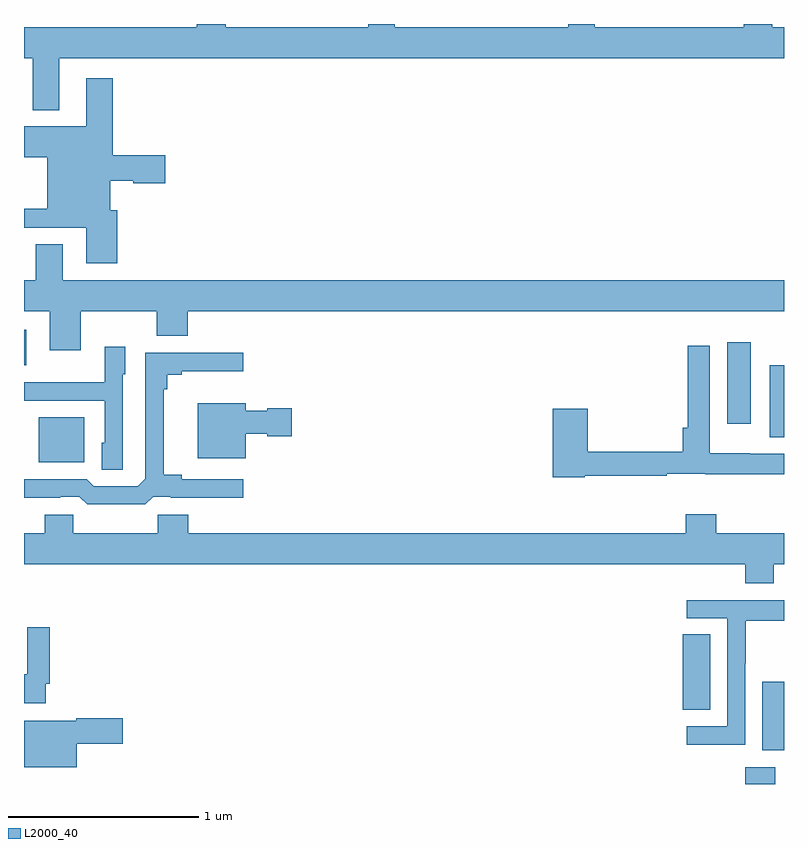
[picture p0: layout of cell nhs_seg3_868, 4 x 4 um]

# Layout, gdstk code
import gdstk
lib = gdstk.Library(unit=1e-6, precision=1e-09)
def R(c, l, rs):  # rectangles x0, y0, x1, y1
    for r in rs: c.add(gdstk.rectangle(r[:2], r[2:], *l))
def P(c, l, *ps):  # polygons
    for p in ps: c.add(gdstk.Polygon(p, *l))
L2000_40 = (2000, 40)

nhs_seg3_868 = lib.new_cell('nhs_seg3_868')
R(nhs_seg3_868, L2000_40, [(158.795,726.4,158.955,726.487), (158.885,726.578,159,726.939), (158.468,726.79,158.611,727.187), (155.078,728.093,155.317,728.329), (158.924,728.224,159,728.605), (158.702,728.295,158.824,728.725), (155,728.604,155.011,728.791)])
P(nhs_seg3_868, L2000_40, [(155.185,730.22),(159,730.22),(159,730.384),(158.937,730.384),(158.937,730.4),(158.789,730.4),(158.789,730.384),(158.005,730.384),(158.005,730.4),(157.865,730.4),(157.865,730.384),(156.951,730.384),(156.951,730.4),(156.813,730.4),(156.813,730.384),(156.061,730.384),(156.061,730.4),(155.909,730.4),(155.909,730.384),(155,730.384),(155,730.22),(155.045,730.22),(155.045,729.947),(155.185,729.947)],
  [(155.492,729.42),(155.455,729.42),(155.455,729.575),(155.575,729.575),(155.575,729.563),(155.743,729.563),(155.743,729.71),(155.468,729.71),(155.468,730.114),(155.327,730.114),(155.327,729.862),(155,729.862),(155,729.698),(155.123,729.698),(155.123,729.428),(155,729.428),(155,729.327),(155.327,729.327),(155.327,729.141),(155.492,729.141)],
  [(155.299,728.888),(155.699,728.888),(155.699,728.76),(155.863,728.76),(155.863,728.888),(159,728.888),(159,729.052),(155.203,729.052),(155.203,729.242),(155.063,729.242),(155.063,729.052),(155,729.052),(155,728.888),(155.135,728.888),(155.135,728.682),(155.299,728.682)],
  [(157.95,728.022),(158.384,728.022),(158.384,728.033),(158.586,728.033),(158.586,728.031),(159,728.031),(159,728.139),(158.82,728.139),(158.82,728.14),(158.61,728.14),(158.61,728.707),(158.494,728.707),(158.494,728.275),(158.468,728.275),(158.468,728.15),(157.967,728.15),(157.967,728.374),(157.784,728.374),(157.784,728.014),(157.95,728.014)],
  [(155.52,728.556),(155.533,728.556),(155.533,728.701),(155.424,728.701),(155.424,728.515),(155.107,728.515),(155.107,728.514),(155,728.514),(155,728.418),(155.424,728.418),(155.424,728.196),(155.408,728.196),(155.408,728.053),(155.52,728.053)],
  [(155.679,727.911),(155.773,727.911),(155.773,727.907),(156.154,727.907),(156.154,728.004),(155.83,728.004),(155.83,728.027),(155.735,728.027),(155.735,728.477),(155.753,728.477),(155.753,728.554),(155.83,728.554),(155.83,728.573),(156.154,728.573),(156.154,728.67),(155.637,728.67),(155.637,728.007),(155.598,727.968),(155.367,727.968),(155.331,728.004),(155,728.004),(155,727.907),(155.192,727.907),(155.192,727.911),(155.292,727.911),(155.332,727.872),(155.639,727.872)],
  [(156.166,728.243),(156.279,728.243),(156.279,728.231),(156.409,728.231),(156.409,728.378),(156.279,728.378),(156.279,728.365),(156.166,728.365),(156.166,728.404),(155.915,728.404),(155.915,728.114),(156.166,728.114)],
  [(158.947,727.556),(159,727.556),(159,727.72),(158.643,727.72),(158.643,727.819),(158.483,727.819),(158.483,727.72),(155.864,727.72),(155.864,727.818),(155.704,727.818),(155.704,727.72),(155.259,727.72),(155.259,727.818),(155.108,727.818),(155.108,727.72),(155,727.72),(155,727.556),(158.795,727.556),(158.795,727.457),(158.947,727.457)],
  [(158.796,727.036),(158.799,727.036),(158.799,727.26),(159,727.26),(159,727.368),(158.487,727.368),(158.487,727.272),(158.7,727.272),(158.7,726.705),(158.487,726.705),(158.487,726.607),(158.796,726.607)],
  [(155.115,726.928),(155.135,726.928),(155.135,727.225),(155.018,727.225),(155.018,726.977),(155,726.977),(155,726.824),(155.115,726.824)],
  [(155.278,726.611),(155.521,726.611),(155.521,726.746),(155.274,726.746),(155.274,726.733),(155,726.733),(155,726.488),(155.278,726.488)])

lib.write_gds('nhs_seg3_868.gds')
